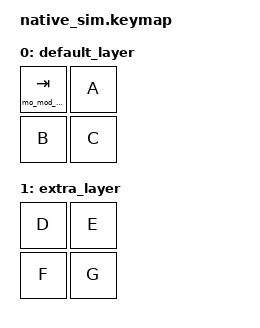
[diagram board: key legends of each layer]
/*
 * Copyright (c) 2022 The ZMK Contributors
 *
 * SPDX-License-Identifier: MIT
 */

#include <dt-bindings/zmk/keys.h>
#include <behaviors.dtsi>
#include <dt-bindings/zmk/input_mock.h>

/ {
    macros {
        ZMK_MACRO(
            mo_mod_macro,
            wait-ms = <0>;
            tap-ms = <20>;
            bindings
                = <&macro_press &mo 1 &kp LSHFT>
                , <&macro_pause_for_release>
                , <&macro_release &mo 1 &kp LSHFT>;
        )
    };

    behaviors {
        mth: macro_tap_hold {
            compatible = "zmk,behavior-hold-tap";
            #binding-cells = <2>;
            flavor = "tap-unless-interrupted";
            tapping-term-ms = <200>;
            bindings = <&mo_mod_macro>, <&kp>;
        };
    };

    keymap {
        compatible = "zmk,keymap";

        default_layer {
            bindings = <
                &mth 0 TAB &kp A
                &kp B &kp C>;
        };

        extra_layer {
            bindings = <
                &kp D &kp E
                &kp F &kp G>;

        };

    };
};

&mock_input {
    events = <ZMK_INPUT_MOCK_PRESS(0,0,20) ZMK_INPUT_MOCK_PRESS(0,1,10) ZMK_INPUT_MOCK_RELEASE(0,1,10) ZMK_INPUT_MOCK_RELEASE(0,0,1000)>;
};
